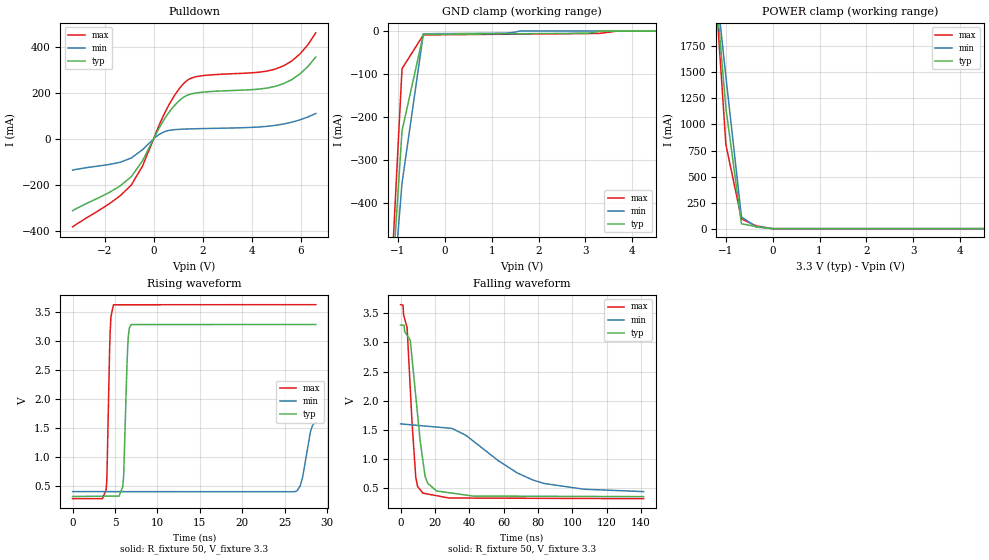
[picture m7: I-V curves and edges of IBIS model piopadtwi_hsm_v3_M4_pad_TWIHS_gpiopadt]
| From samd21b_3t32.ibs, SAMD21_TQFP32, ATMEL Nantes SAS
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|   MODEL : piopadtwi_hsm_v3_M4_pad_TWIHS_gpiopadt
[Model] piopadtwi_hsm_v3_M4_pad_TWIHS_gpiopadt
Model_type I/O_open_sink
Vinl  =  0.99
Vinh  =  2.31
Vmeas =  1.650
| Capacitance   typ   min   max
C_comp   3.02848223662e-12   2.58581027971e-12   8.10266981462e-12
| Variables   typ   min   max
[GND Clamp Reference]   0   0   0
[POWER Clamp Reference]   3.3   1.6   3.65
[Pulldown Reference]   0   0   0
[Pullup Reference]   3.3   1.6   3.65
[Temperature Range]   25   105   -40
[Voltage Range]   3.3   1.6   3.65
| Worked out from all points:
|   slope of the pulldown table from 0 to 0.495 V, typ, clamps not added: 5.21 ohm
|   rising waveform, R_fixture 50, V_fixture 3.3: 20-80 % time 369ps typ, 842ps min, 297ps max; typ from 0.329 V to 3.28 V
|   falling waveform, R_fixture 50, V_fixture 3.3: 20-80 % time 6.39ns typ, 34.8ns min, 3.86ns max; typ from 3.3 V to 0.349 V
[GND Clamp]
| Voltage   I(typ)   I(min)   I(max)
-3.3V     -4.301A    -3.667A    -5.241A
-1.364V   -997.8mA   -971.3mA   -1.061A
-909.1mV  -231.9mA   -353.3mA   -87.5mA
-454.5mV  -7.74mA    -6.339mA   -9.015mA
1.289V    -6.456mA   -4.778mA   -7.437mA
1.598V    -6.235mA   -44.94uA   -7.173mA
3.042V    -4.777mA   0A         -5.83mA
3.3V      343.5pA    0A         -5.455mA
3.65V     0A         0A         310.7pA
6.6V      0A         0A         0A
[POWER Clamp]
| Voltage   I(typ)   I(min)   I(max)
-3.3V     13.58A     11.38A     16.62A
-1.327V   2.909A     2.856A     3.046A
-995.5mV  1.157A     1.459A     807.4mA
-663.6mV  46.4mA     113.7mA    93.16mA
-350mV    19.95mA    15.45mA    27.01mA
0V        0A         47.91uA    0A
6.6V      0A         0A         0A
[Pulldown]
| Voltage   I(typ)   I(min)   I(max)
-3.3V     -311.4mA   -135.7mA   -381.5mA
-1.818V   -233.1mA   -111.4mA   -282.3mA
-909.1mV  -163.8mA   -83.09mA   -200.2mA
-454.5mV  -95.24mA   -47.01mA   -118.2mA
154.7mV   33.11mA    13.69mA    41.69mA
567.2mV   106.3mA    35.06mA    136.3mA
979.7mV   159.1mA    40.78mA    208.3mA
1.341V    187.7mA    42.57mA    251.5mA
1.959V    201.9mA    44.39mA    273.3mA
4.959V    227.7mA    58.48mA    302.6mA
5.955V    281.3mA    82.22mA    367.7mA
6.6V      354.8mA    110mA      459.6mA
[Ramp]
dV/dt_r   1.78281/0.37189n  0.71297/0.844329n  2.01551/0.300418n
dV/dt_f   1.7827/6.45465n  0.71242/36.0162n  2.01548/3.89679n
R_load = 50
[Rising Waveform]
R_fixture = 50
V_fixture = 3.3
V_fixture_min = 1.6
V_fixture_max = 3.65
| Time   V(typ)   V(min)   V(max)
0s        328.7mV    411.7mV    290.8mV
3.957ns   333.2mV    411.4mV    441mV
4.054ns   333.3mV    411.4mV    701.1mV
4.427ns   333.8mV    411.4mV    3.147V
4.825ns   334.2mV    411.4mV    3.622V
5.919ns   495.9mV    411.3mV    3.622V
6.516ns   2.949V     411.3mV    3.622V
6.897ns   3.282V     411.2mV    3.622V
26.46ns   3.283V     424.4mV    3.624V
28.68ns   3.283V     1.595V     3.624V
[Falling Waveform]
R_fixture = 50
V_fixture = 3.3
V_fixture_min = 1.6
V_fixture_max = 3.65
| Time   V(typ)   V(min)   V(max)
0s        3.3V       1.6V       3.65V
1.471ns   3.297V     1.596V     3.642V
3.831ns   3.124V     1.59V      3.257V
5.653ns   3.042V     1.585V     2.219V
8.857ns   2.083V     1.577V     683mV
12.96ns   980.6mV    1.566V     409.7mV
15.84ns   578.4mV    1.559V     393.9mV
20.97ns   446.6mV    1.545V     365.6mV
83.56ns   354.8mV    575.4mV    320mV
141.5ns   349.4mV    435.7mV    313.9mV
